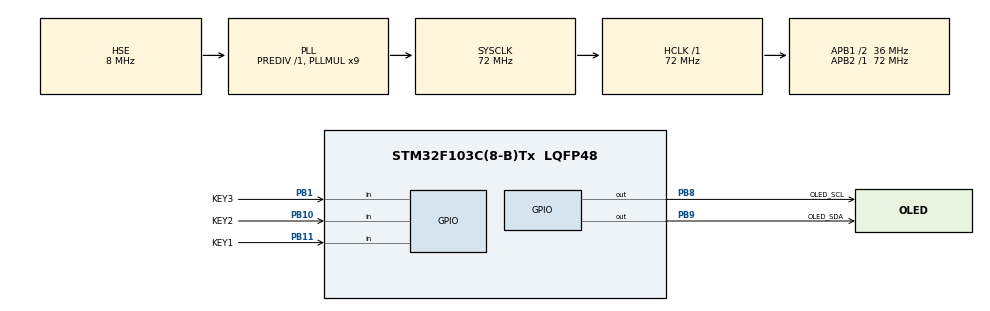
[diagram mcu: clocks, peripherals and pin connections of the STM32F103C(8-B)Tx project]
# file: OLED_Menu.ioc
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Mcu.Family=STM32F1
Mcu.Name=STM32F103C(8-B)Tx
Mcu.Package=LQFP48
NVIC.PriorityGroup=NVIC_PRIORITYGROUP_4
NVIC.TIM2_IRQn=true\:0\:0\:false\:false\:true\:true\:true\:true
PA13.Mode=Serial_Wire
PA13.Signal=SYS_JTMS-SWDIO
PA14.Mode=Serial_Wire
PA14.Signal=SYS_JTCK-SWCLK
PB1.GPIO_Label=KEY3
PB1.GPIO_Mode=GPIO_MODE_INPUT
PB1.GPIO_PuPd=GPIO_PULLUP
PB1.Signal=GPIO_Input
PB10.GPIO_Label=KEY2
PB10.GPIO_PuPd=GPIO_PULLUP
PB10.Signal=GPIO_Input
PB11.GPIO_Label=KEY1
PB11.GPIO_Mode=GPIO_MODE_INPUT
PB11.GPIO_PuPd=GPIO_PULLUP
PB11.Signal=GPIO_Input
PB8.GPIO_Label=OLED_SCL
PB8.Signal=GPIO_Output
PB9.GPIO_Label=OLED_SDA
PB9.Signal=GPIO_Output
PD0-OSC_IN.Mode=HSE-External-Oscillator
PD0-OSC_IN.Signal=RCC_OSC_IN
PD1-OSC_OUT.Mode=HSE-External-Oscillator
PD1-OSC_OUT.Signal=RCC_OSC_OUT
ProjectManager.HeapSize=0x200
ProjectManager.StackSize=0x400
ProjectManager.TargetToolchain=CMake
RCC.AHBFreq_Value=72000000
RCC.APB1CLKDivider=RCC_HCLK_DIV2
RCC.APB1Freq_Value=36000000
RCC.APB1TimFreq_Value=72000000
RCC.APB2Freq_Value=72000000
RCC.APB2TimFreq_Value=72000000
RCC.HCLKFreq_Value=72000000
RCC.PLLMUL=RCC_PLL_MUL9
RCC.PLLSourceVirtual=RCC_PLLSOURCE_HSE
RCC.SYSCLKFreq_VALUE=72000000
RCC.SYSCLKSource=RCC_SYSCLKSOURCE_PLLCLK
RCC.USBFreq_Value=72000000
TIM2.AutoReloadPreload=TIM_AUTORELOAD_PRELOAD_ENABLE
TIM2.Period=1000 - 1
TIM2.Prescaler=720 - 1
VP_TIM2_VS_ClockSourceINT.Mode=Internal
board=custom

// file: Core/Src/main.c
/* USER CODE BEGIN Header */
/**
  ******************************************************************************
  * @file           : main.c
  * @brief          : Main program body
  ******************************************************************************
  * @attention
  *
  * Copyright (c) 2026 STMicroelectronics.
  * All rights reserved.
  *
  * This software is licensed under terms that can be found in the LICENSE file
  * in the root directory of this software component.
  * If no LICENSE file comes with this software, it is provided AS-IS.
  *
  ******************************************************************************
  */
/* USER CODE END Header */
#include "main.h"
#include "tim.h"
#include "gpio.h"

/* USER CODE BEGIN Includes */
#include "../app.h"
#include "../bsp.h"
/* USER CODE END Includes */

void SystemClock_Config(void);

/* USER CODE BEGIN 0 */
// ===================== 第一步：定义你的功能函数 =====================
// 这些函数会在菜单被选中时执行
void Func_StartMotor(void)
{
  OLED_ShowString(4, 1, "Motor Start!");
}

void Func_StopMotor(void)
{
  OLED_ShowString(4, 1, "Motor Stop!");
}

void Func_Settings(void)
{
  OLED_ShowString(4, 1, "Settings...");
}

// ===================== 第二步：定义你的菜单树结构 =====================
// 注意：要从最底层的子菜单开始定义，最后定义根菜单

// 1. 定义“运动控制”子菜单
const Menu_Item_t menu_motor[] = {
  {"start motor", Func_StartMotor, NULL, 0},   // 可执行项
  {"stop motor", Func_StopMotor,  NULL, 0},   // 可执行项
};

// 2. 定义“系统设置”子菜单
const Menu_Item_t menu_settings[] = {
  {"param set", Func_Settings, NULL, 0},
  {"save set", NULL, NULL, 0}, // 预留
};

// 3. 定义根菜单（主菜单）
const Menu_Item_t menu_root[] = {
  {"motion control", NULL, menu_motor, 2},       // 文件夹：有子菜单
  {"system set", NULL, menu_settings, 2},    // 文件夹
  {"about us", NULL, NULL, 0},              // 预留
};

// ===================== 第三步：显示层刷新函数 =====================
// 这是连接菜单逻辑和OLED的桥梁
void Menu_Display_Refresh(void)
{
  const Menu_Item_t *parent = App_Menu_Get_Current_Parent();
  uint8_t cursor = App_Menu_Get_Cursor();

  // 清屏
  OLED_Clear();

  // 遍历显示当前页的所有菜单项
  // 0.96寸OLED最多显示4行8x16字符
  for(uint8_t i=0; i<parent->child_count && i<4; i++)
  {
    if(i == cursor)
    {
      // 当前光标行：显示箭头
      OLED_ShowChar(i+1, 1, '>');
    }
    // 显示菜单名称
    OLED_ShowString(i+1, 2, (char*)parent[i].name);
  }
}

// ===================== 第四步：按键事件回调 =====================
void My_Key_Callback(Key_ID_t id, Key_Event_t evt)
{
  // 1. 把短按事件传给菜单逻辑
  App_Menu_Input_Key(id, evt);

  // 2. 处理长按事件（比如长按KEY1返回主页）
  if(evt == KEY_EVT_LONG_PRESS)
  {
    if(id == KEY_ID_1)
    {
      App_Menu_Jump_To(menu_root); // 跳回根菜单
    }
  }

  // 3. 只要有按键事件，就刷新屏幕
  Menu_Display_Refresh();
}
/* USER CODE END 0 */

int main(void)
{

  /* MCU Configuration--------------------------------------------------------*/

  /* Reset of all peripherals, Initializes the Flash interface and the Systick. */
  HAL_Init();

  /* Configure the system clock */
  SystemClock_Config();

  /* Initialize all configured peripherals */
  MX_GPIO_Init();
  MX_TIM2_Init();
  /* USER CODE BEGIN 2 */
  OLED_Init();
  /* USER CODE END 2 */
  // 2. BSP层初始化（顺序：I2C -> OLED -> Key）
  Soft_I2C_Init();
  OLED_Init();
  BSP_Key_Init(My_Key_Callback);

  // 3. APP层初始化（菜单）
  App_Menu_Init(menu_root);

  // 4. 启动定时器
  HAL_TIM_Base_Start_IT(&htim2);

  // 5. 初始显示
  Menu_Display_Refresh();
  /* Infinite loop */
  while (1)
  {
  }
}

void SystemClock_Config(void)
{
  RCC_OscInitTypeDef RCC_OscInitStruct = {0};
  RCC_ClkInitTypeDef RCC_ClkInitStruct = {0};

  /** Initializes the RCC Oscillators according to the specified parameters
  * in the RCC_OscInitTypeDef structure.
  */
  RCC_OscInitStruct.OscillatorType = RCC_OSCILLATORTYPE_HSE;
  RCC_OscInitStruct.HSEState = RCC_HSE_ON;
  RCC_OscInitStruct.HSEPredivValue = RCC_HSE_PREDIV_DIV1;
  RCC_OscInitStruct.HSIState = RCC_HSI_ON;
  RCC_OscInitStruct.PLL.PLLState = RCC_PLL_ON;
  RCC_OscInitStruct.PLL.PLLSource = RCC_PLLSOURCE_HSE;
  RCC_OscInitStruct.PLL.PLLMUL = RCC_PLL_MUL9;
  if (HAL_RCC_OscConfig(&RCC_OscInitStruct) != HAL_OK)
  {
    Error_Handler();
  }

  /** Initializes the CPU, AHB and APB buses clocks
  */
  RCC_ClkInitStruct.ClockType = RCC_CLOCKTYPE_HCLK|RCC_CLOCKTYPE_SYSCLK
                              |RCC_CLOCKTYPE_PCLK1|RCC_CLOCKTYPE_PCLK2;
  RCC_ClkInitStruct.SYSCLKSource = RCC_SYSCLKSOURCE_PLLCLK;
  RCC_ClkInitStruct.AHBCLKDivider = RCC_SYSCLK_DIV1;
  RCC_ClkInitStruct.APB1CLKDivider = RCC_HCLK_DIV2;
  RCC_ClkInitStruct.APB2CLKDivider = RCC_HCLK_DIV1;

  if (HAL_RCC_ClockConfig(&RCC_ClkInitStruct, FLASH_LATENCY_2) != HAL_OK)
  {
    Error_Handler();
  }
}

void Error_Handler(void)
{
  __disable_irq();
  while (1)
  {
  }
}
